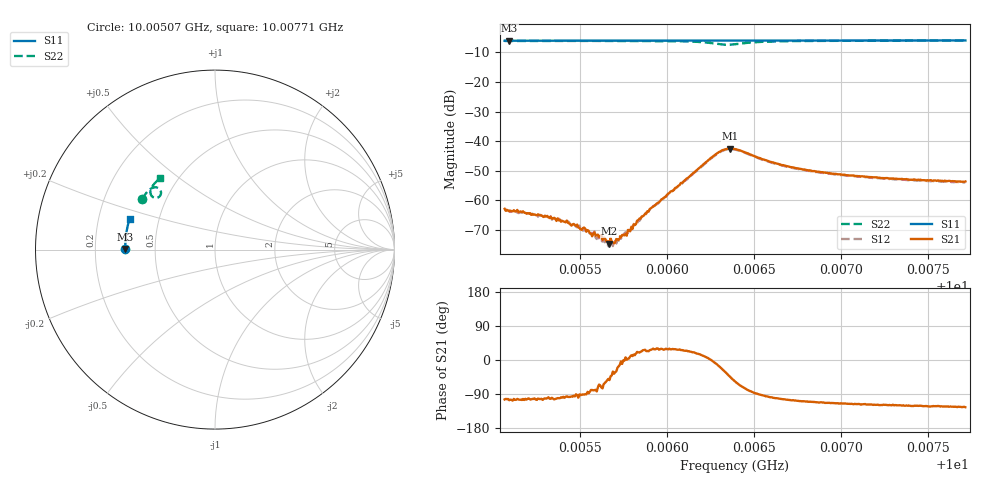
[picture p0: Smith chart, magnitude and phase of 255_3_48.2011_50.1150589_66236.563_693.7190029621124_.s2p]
#  HZ  S  RI  R  50.00
! Rohde & Schwarz Vector Network Analyzer
! Rohde-Schwarz,ZNB20-2Port,1311601062101988,3.16
! Created: UTC 3/20/2024, 11:47:32 AM
! freq[Hz]  re:S11  im:S11  re:S21  im:S21  re:S12  im:S12  re:S22  im:S22
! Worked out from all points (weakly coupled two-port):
!   401 points, 10.00507 GHz to 10.00771 GHz, reference 50 ohm
!   highest |S21| = -42.49 dB at 10.00636 GHz (marker M1); lowest = -74.6 dB at 10.00567 GHz (marker M2)
!   lowest |S11| = -6.0 dB at 10.00509 GHz (marker M3), VSWR 3.00, Z = 16.7 + j0.17 ohm
!   |S11| at or under -10 dB: nowhere
!   |S22| runs from -7.4 to -6.0 dB; largest |S21 - S12| = 0.00044
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1.0005067e10  -0.4998 0.00193  -0.000177 -0.0007  -0.000156 -0.00069  -0.4069 0.2818
1.0005093e10  -0.4997 0.00381  -0.000181 -0.000629  -0.00012 -0.000667  -0.4058 0.2834
1.0005318e10  -0.4999 0.0184  -7.55e-05 -0.00052  -9.02e-05 -0.000507  -0.3969 0.2967
1.0005424e10  -0.4998 0.0252  -4.7e-05 -0.000454  -4.05e-05 -0.000435  -0.3926 0.3032
1.000551e10  -0.4998 0.0308  -6.23e-06 -0.000318  -7.74e-08 -0.000332  -0.3887 0.3082
1.0005537e10  -0.4996 0.0326  -2.78e-06 -0.000295  7.83e-07 -0.000306  -0.3874 0.3101
1.000557e10  -0.4995 0.0347  4.66e-05 -0.000243  3.96e-05 -0.00028  -0.3858 0.3119
1.0005603e10  -0.4996 0.037  8.21e-05 -0.000251  8.78e-05 -0.000225  -0.3841 0.3139
1.0005629e10  -0.4995 0.0388  5.57e-05 -0.000206  0.000102 -0.000173  -0.3828 0.3154
1.0005669e10  -0.4995 0.0412  0.000112 -0.000148  0.000139 -0.000143  -0.3808 0.318
1.0005709e10  -0.4991 0.0437  0.000194 -0.000111  0.000164 -8.98e-05  -0.3786 0.3205
1.0005755e10  -0.4989 0.0469  0.000255 -7.51e-06  0.000277 2.05e-05  -0.3759 0.3235
1.0005841e10  -0.4986 0.0524  0.000463 0.000167  0.00042 0.000164  -0.3705 0.3291
1.0005954e10  -0.498 0.0596  0.000824 0.000429  0.000782 0.00049  -0.3616 0.3366
1.0006278e10  -0.4951 0.0804  0.0059 -0.000883  0.00581 -0.000571  -0.3031 0.3284
1.0006324e10  -0.4946 0.0832  0.00635 -0.00329  0.00639 -0.00287  -0.3024 0.3067
1.0006364e10  -0.4945 0.0854  0.00531 -0.0053  0.00541 -0.00498  -0.3154 0.2914
1.000639e10  -0.4942 0.087  0.00407 -0.00616  0.00432 -0.0058  -0.3275 0.2878
1.0006642e10  -0.4922 0.1031  -0.000833 -0.00402  -0.000642 -0.00397  -0.3587 0.331
1.0006834e10  -0.4901 0.1154  -0.0011 -0.00293  -0.000967 -0.00293  -0.3502 0.3505
1.0007277e10  -0.4834 0.1432  -0.00112 -0.00206  -0.00102 -0.00206  -0.3276 0.3782
1.0007714e10  -0.4756 0.1702  -0.00119 -0.00172  -0.00102 -0.00172  -0.3054 0.3996
